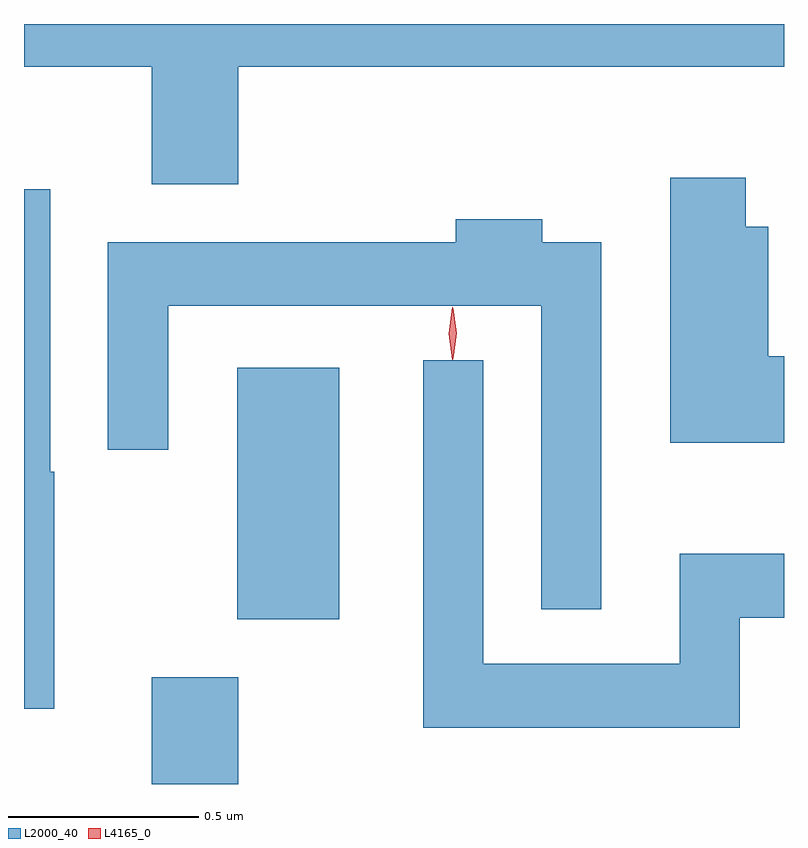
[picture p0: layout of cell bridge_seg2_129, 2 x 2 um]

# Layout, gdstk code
import gdstk
lib = gdstk.Library(unit=1e-6, precision=1e-09)
def R(c, l, rs):  # rectangles x0, y0, x1, y1
    for r in rs: c.add(gdstk.rectangle(r[:2], r[2:], *l))
def P(c, l, *ps):  # polygons
    for p in ps: c.add(gdstk.Polygon(p, *l))
L2000_40 = (2000, 40)
L4165_0 = (4165, 0)

bridge_seg2_129 = lib.new_cell('bridge_seg2_129')
R(bridge_seg2_129, L2000_40, [(1024.601,1110.808,1024.829,1111.089), (1024.826,1111.241,1025.094,1111.904)])
P(bridge_seg2_129, L2000_40, [(1024.829,1112.696),(1026.265,1112.696),(1026.265,1112.808),(1024.265,1112.808),(1024.265,1112.696),(1024.601,1112.696),(1024.601,1112.386),(1024.829,1112.386)],
  [(1026.265,1111.934),(1026.224,1111.934),(1026.224,1112.274),(1026.164,1112.274),(1026.164,1112.404),(1025.966,1112.404),(1025.966,1111.706),(1026.265,1111.706)],
  [(1024.344,1111.63),(1024.334,1111.63),(1024.334,1112.373),(1024.265,1112.373),(1024.265,1111.006),(1024.344,1111.006)],
  [(1025.784,1112.234),(1025.629,1112.234),(1025.629,1112.294),(1025.401,1112.294),(1025.401,1112.234),(1024.486,1112.234),(1024.486,1111.688),(1024.644,1111.688),(1024.644,1112.066),(1025.626,1112.066),(1025.626,1111.268),(1025.784,1111.268)],
  [(1026.149,1111.246),(1026.265,1111.246),(1026.265,1111.414),(1025.991,1111.414),(1025.991,1111.124),(1025.474,1111.124),(1025.474,1111.923),(1025.316,1111.923),(1025.316,1110.956),(1026.149,1110.956)])
P(bridge_seg2_129, L4165_0, [(1025.394,1111.927),(1025.394,1111.927),(1025.384,1111.994),(1025.394,1112.06),(1025.394,1112.06),(1025.395,1112.06),(1025.404,1111.994),(1025.395,1111.927)],
  [(1025.392,1111.924),(1025.383,1111.993),(1025.392,1112.062),(1025.393,1112.063),(1025.393,1112.062),(1025.403,1111.993),(1025.393,1111.924),(1025.393,1111.924)])

lib.write_gds('bridge_seg2_129.gds')
